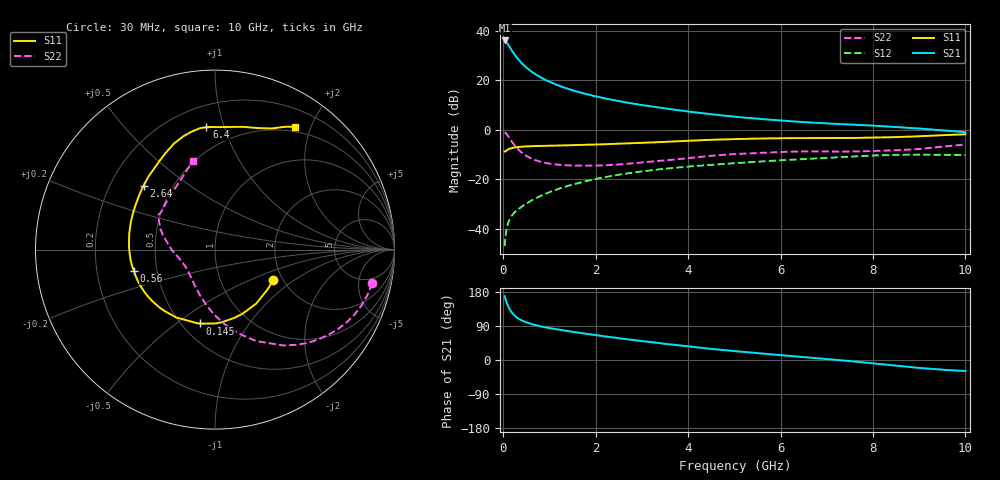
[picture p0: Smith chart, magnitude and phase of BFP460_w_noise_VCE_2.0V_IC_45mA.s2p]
! (c) 2016  Infineon Technologies AG, Munich
! Infineon Technologies  Discrete & RF Semiconductors
! BFP460
! VCE =  2.0 V,  IC =  45 mA
! Common Emitter S-Parameters:  Jan 2016
# GHz  S  MA  R  50
!  f  S11  S21  S12  S22
! GHz  MAG  ANG  MAG  ANG  MAG  ANG  MAG  ANG
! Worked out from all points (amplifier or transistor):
!   229 points, 30 MHz to 10 GHz, reference 50 ohm
!   highest |S21| = 36.2 dB at 30 MHz (marker M1)
!   |S21| within 3 dB of that: start of sweep to 150 MHz
!   unconditionally stable (mu >= 1): 1.16 GHz to 7.701 GHz
!   at 280 MHz: K = 0.63, MSG = 31.1 dB, |S12| = -32.7 dB
!   at 1.78 GHz: K = 1.03, MAG = 16.6 dB, |S12| = -20.7 dB
!   at 10 GHz: K = 0.98, MSG = 4.6 dB, |S12| = -10.2 dB
!   lowest NFmin = 1.72 dB at 3.5 GHz
!   S11 on the Smith chart (normalised r, x): 30 MHz: 1.78, -0.71; 145 MHz: 0.61, -0.61; 560 MHz: 0.37, -0.11; 2.64 GHz: 0.34, +0.34; 6.4 GHz: 0.34, +0.87; 10 GHz: 0.43, +1.77
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0.03  0.3667 -28.0  64.22 168.7  0.0045 84.7  0.8953 -12.1
0.05  0.3691 -44.8  61.85 160.2  0.0072 78.0  0.8734 -20.9
0.07  0.3819 -60.9  59.27 153.0  0.0095 73.1  0.8366 -29.2
0.08  0.3891 -67.1  57.64 150.0  0.0107 71.4  0.815 -33.0
0.11  0.4068 -84.8  52.33 141.2  0.0135 67.0  0.7451 -43.4
0.145  0.4198 -101.5  46.33 132.7  0.0161 63.0  0.6648 -53.4
0.2  0.4358 -119.8  38.38 122.9  0.0193 59.7  0.5584 -65.8
0.26  0.4466 -133.4  31.88 115.5  0.0223 58.8  0.4721 -75.8
0.3  0.4523 -140.3  28.42 111.4  0.0241 58.6  0.427 -81.6
0.4  0.4607 -152.6  22.24 104.2  0.0283 59.6  0.3487 -92.7
0.56  0.4675 -165.0  16.46 96.9  0.0353 61.5  0.2794 -105.4
0.7  0.4737 -172.6  13.24 91.9  0.0416 62.7  0.2445 -114.4
1  0.4807 175.8  9.405 84.2  0.0555 63.7  0.2089 -128.1
1.3  0.4878 167.1  7.283 78.0  0.0696 63.1  0.1954 -137.6
1.7  0.4983 157.4  5.604 70.8  0.0884 61.1  0.1898 -147.2
2.64  0.5343 138.2  3.625 55.3  0.1307 53.6  0.2057 -166.2
3.4  0.5698 125.6  2.804 44.2  0.161 46.6  0.238 -178.9
5.1  0.6582 104.7  1.82 22.5  0.216 32.8  0.3286 158.3
6.4  0.6836 94.0  1.462 8.6  0.255 22.7  0.3679 149.3
6.8  0.6828 90.4  1.388 4.6  0.2668 19.9  0.3683 147.6
8.4  0.7139 71.9  1.163 -13.8  0.3131 5.3  0.386 132.0
10  0.8173 56.9  0.903 -29.3  0.3107 -7.5  0.5096 103.8
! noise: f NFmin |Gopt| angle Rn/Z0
0.45  1.77  0.29  -170  0.13
0.9  1.79  0.27  -162  0.14
1.9  1.89  0.36  -141  0.15
3.5  1.72  0.59  -117  0.24
